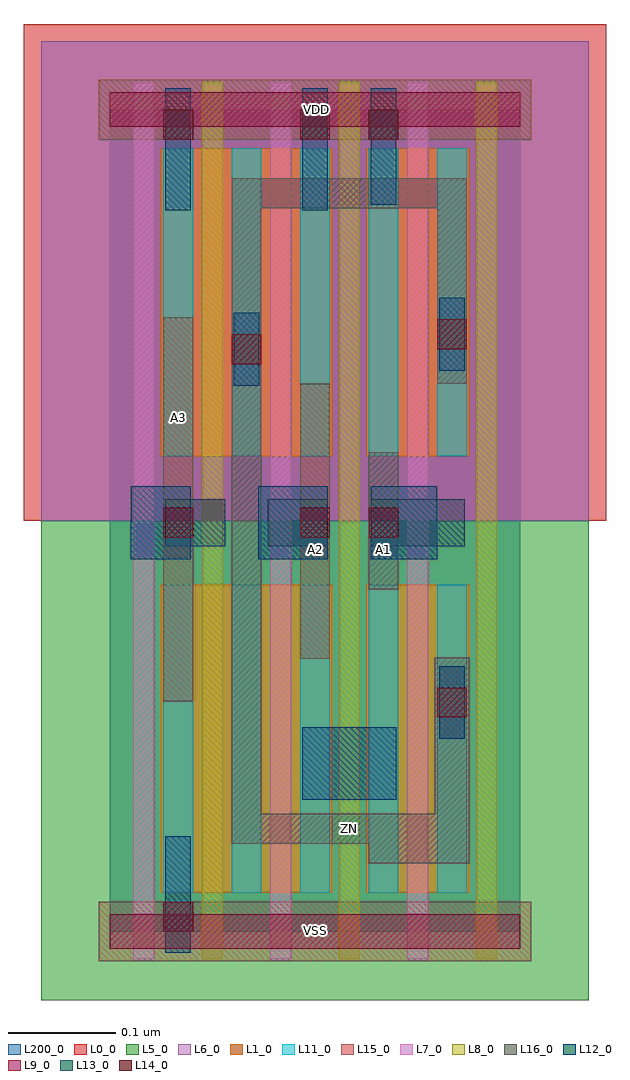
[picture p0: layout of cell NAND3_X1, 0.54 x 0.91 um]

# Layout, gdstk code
import gdstk
lib = gdstk.Library(unit=1e-6, precision=1e-09)
def R(c, l, rs):  # rectangles x0, y0, x1, y1
    for r in rs: c.add(gdstk.rectangle(r[:2], r[2:], *l))
def A(c, l, x, y, w, h, nx, ny, dx, dy):  # array of equal rectangles
    R(c, l, [(x+i*dx, y+j*dy, x+i*dx+w, y+j*dy+h) for i in range(nx) for j in range(ny)])
def P(c, l, *ps):  # polygons
    for p in ps: c.add(gdstk.Polygon(p, *l))
L0_0 = (0, 0)
L1_0 = (1, 0)
L5_0 = (5, 0)
L6_0 = (6, 0)
L7_0 = (7, 0)
L8_0 = (8, 0)
L9_0 = (9, 0)
L11_0 = (11, 0)
L12_0 = (12, 0)
L13_0 = (13, 0)
L14_0 = (14, 0)
L15_0 = (15, 0)
L16_0 = (16, 0)
L200_0 = (200, 0)

nand3_x1 = lib.new_cell('NAND3_X1')
R(nand3_x1, L0_0, [(-0.08,0.384,0.464,0.848)])
R(nand3_x1, L1_0, [(0.048,0.036,0.208,0.324), (0.24,0.036,0.336,0.324), (0.048,0.444,0.208,0.732), (0.24,0.444,0.336,0.732)])
R(nand3_x1, L5_0, [(-0.064,-0.064,0.448,0.384)])
R(nand3_x1, L6_0, [(-0.064,0.384,0.448,0.832)])
A(nand3_x1, L7_0, 0.022, -0.026, 0.02, 0.82, 3, 1, 0.128, 0)
A(nand3_x1, L8_0, 0.086, -0.026, 0.02, 0.82, 3, 1, 0.128, 0)
R(nand3_x1, L9_0, [(0,-0.016,0.384,0.016), (0,0.752,0.384,0.784)])
A(nand3_x1, L11_0, 0.05, 0.036, 0.028, 0.288, 5, 2, 0.064, 0.408)
R(nand3_x1, L12_0, [(0.052,-0.02,0.076,0.089), (0.18,0.123,0.268,0.191), (0.308,0.18,0.332,0.248), (0.02,0.348,0.076,0.416), (0.139,0.348,0.204,0.416), (0.244,0.348,0.306,0.416), (0.116,0.51,0.14,0.578), (0.308,0.524,0.332,0.592), (0.052,0.674,0.076,0.788), (0.18,0.674,0.204,0.788), (0.244,0.679,0.268,0.788)])
R(nand3_x1, L13_0, [(0.052,0.36,0.108,0.404), (0.148,0.36,0.204,0.404), (0.244,0.36,0.332,0.404)])
R(nand3_x1, L14_0, [(0.05,0,0.078,0.028), (0.306,0.2,0.334,0.228), (0.05,0.368,0.078,0.396), (0.178,0.368,0.206,0.396), (0.242,0.368,0.27,0.396), (0.114,0.53,0.142,0.558), (0.306,0.544,0.334,0.572), (0.05,0.74,0.078,0.768), (0.178,0.74,0.206,0.768), (0.242,0.74,0.27,0.768)])
R(nand3_x1, L15_0, [(-0.01,-0.028,0.394,0.028), (0.05,0.215,0.078,0.574), (0.178,0.255,0.206,0.512), (-0.01,0.74,0.394,0.796)])
R(nand3_x1, L16_0, [(0.242,0.32,0.27,0.448)])
P(nand3_x1, L16_0, [(0.114,0.082),(0.242,0.082),(0.242,0.064),(0.336,0.064),(0.336,0.256),(0.304,0.256),(0.304,0.11),(0.142,0.11),(0.142,0.676),(0.306,0.676),(0.306,0.512),(0.334,0.512),(0.334,0.704),(0.114,0.704)])
R(nand3_x1, L200_0, [(0,0,0.384,0.768)])
nand3_x1.add(gdstk.Label('VSS', (0.192,0.001), layer=15, texttype=20))
nand3_x1.add(gdstk.Label('A3', (0.064,0.48), layer=15, texttype=20))
nand3_x1.add(gdstk.Label('A2', (0.192,0.357), layer=15, texttype=20))
nand3_x1.add(gdstk.Label('VDD', (0.193,0.768), layer=15, texttype=20))
nand3_x1.add(gdstk.Label('ZN', (0.224,0.096), layer=16, texttype=20))
nand3_x1.add(gdstk.Label('A1', (0.256,0.357), layer=16, texttype=20))

lib.write_gds('NAND3_X1.gds')
